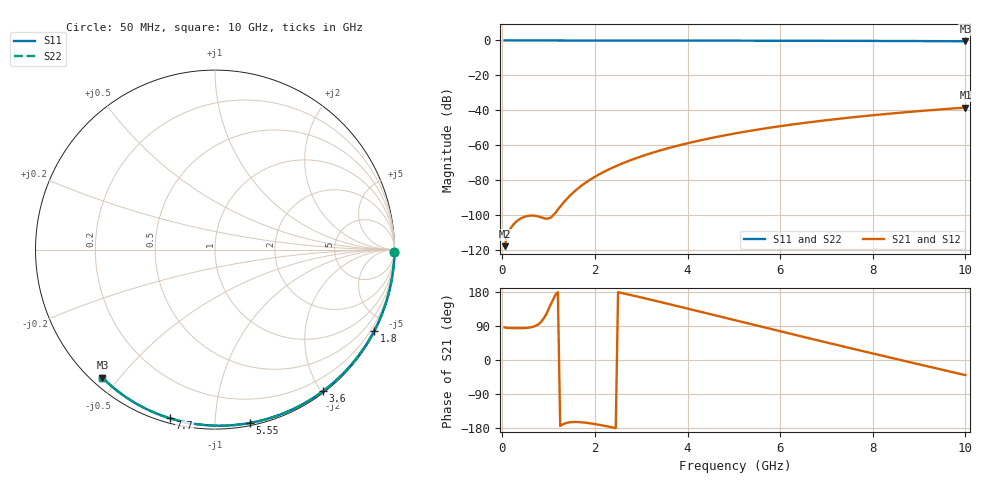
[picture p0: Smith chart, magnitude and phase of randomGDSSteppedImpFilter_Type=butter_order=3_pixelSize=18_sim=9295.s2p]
! freq	dB(S11)	phase(S11)	dB(S12)	phase(S12)
!  dB(S21)	phase(S21)	dB(S22)	phase(S22)
!S-par simulation data
#  GHz  S  DB  R 50
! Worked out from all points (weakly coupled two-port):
!   200 points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, 50 MHz to 10 GHz, reference 50 ohm
!   highest |S21| = -38.44 dB at 10 GHz (marker M1); lowest = -117.8 dB at 50 MHz (marker M2)
!   lowest |S11| = -0.4 dB at 10 GHz (marker M3), VSWR 39.12, Z = 1.54 - j22.6 ohm
!   |S11| at or under -10 dB: nowhere
!   |S22| runs from -0.4 to 0.0 dB; largest |S21 - S12| = 0
!   S11 on the Smith chart (normalised r, x): 50 MHz: open; 1.8 GHz: 0.04, -4.18; 3.6 GHz: 0.02, -2.02; 5.55 GHz: 0.02, -1.22; 7.7 GHz: 0.02, -0.77; 10 GHz: 0.03, -0.45
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0.05  -0.00 -0.8  -117.79 86.1  -117.79 86.1  -0.00 -0.8
0.9  -0.02 -13.6  -101.81 111.0  -101.81 111.0  -0.02 -13.6
1.75  -0.03 -26.2  -82.36 -164.8  -82.36 -164.8  -0.03 -26.2
1.8  -0.03 -26.9  -81.42 -165.5  -81.42 -165.5  -0.03 -26.9
1.85  -0.04 -27.6  -80.53 -166.2  -80.53 -166.2  -0.04 -27.6
1.9  -0.04 -28.4  -79.67 -167.1  -79.67 -167.1  -0.04 -28.4
2.05  -0.04 -30.6  -77.29 -170.1  -77.29 -170.1  -0.04 -30.6
2.25  -0.04 -33.5  -74.49 -174.7  -74.49 -174.7  -0.04 -33.5
2.45  -0.05 -36.4  -72.01 -179.8  -72.01 -179.8  -0.05 -36.4
2.65  -0.05 -39.2  -69.79 174.9  -69.79 174.9  -0.05 -39.2
3  -0.06 -44.2  -66.38 165.1  -66.38 165.1  -0.06 -44.2
3.4  -0.07 -49.8  -63.05 153.5  -63.05 153.5  -0.07 -49.8
3.6  -0.07 -52.6  -61.56 147.6  -61.56 147.6  -0.07 -52.6
4.3  -0.09 -62.2  -57.05 126.7  -57.05 126.7  -0.09 -62.2
5.05  -0.11 -72.1  -53.12 104.3  -53.12 104.3  -0.11 -72.1
5.55  -0.13 -78.6  -50.89 89.3  -50.89 89.3  -0.13 -78.6
6.1  -0.15 -85.6  -48.71 72.9  -48.71 72.9  -0.15 -85.5
6.7  -0.18 -93.0  -46.61 55.1  -46.61 55.1  -0.18 -93.0
7.7  -0.24 -105.0  -43.62 25.9  -43.62 25.9  -0.24 -105.0
8.35  -0.29 -112.6  -41.95 7.1  -41.95 7.1  -0.29 -112.5
9.15  -0.36 -121.7  -40.13 -15.8  -40.13 -15.8  -0.36 -121.7
10  -0.44 -131.3  -38.44 -39.9  -38.44 -39.9  -0.44 -131.3
